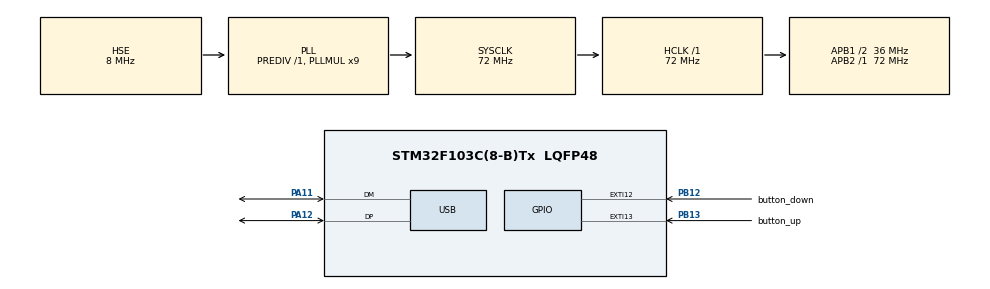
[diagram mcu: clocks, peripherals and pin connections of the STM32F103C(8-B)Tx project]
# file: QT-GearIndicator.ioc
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Mcu.Family=STM32F1
Mcu.Name=STM32F103C(8-B)Tx
Mcu.Package=LQFP48
NVIC.EXTI15_10_IRQn=true\:0\:0\:false\:false\:true\:true\:true\:true
NVIC.PriorityGroup=NVIC_PRIORITYGROUP_4
NVIC.USB_LP_CAN1_RX0_IRQn=true\:0\:0\:false\:false\:true\:false\:true\:true
PA11.Mode=Device
PA11.Signal=USB_DM
PA12.Mode=Device
PA12.Signal=USB_DP
PA13.Mode=Trace_Asynchronous_SW
PA13.Signal=SYS_JTMS-SWDIO
PA14.Mode=Trace_Asynchronous_SW
PA14.Signal=SYS_JTCK-SWCLK
PB12.GPIO_Label=button_down
PB12.Signal=GPXTI12
PB13.GPIO_Label=button_up
PB13.Signal=GPXTI13
PB3.Mode=Trace_Asynchronous_SW
PB3.Signal=SYS_JTDO-TRACESWO
PD0-OSC_IN.Mode=HSE-External-Oscillator
PD0-OSC_IN.Signal=RCC_OSC_IN
PD1-OSC_OUT.Mode=HSE-External-Oscillator
PD1-OSC_OUT.Signal=RCC_OSC_OUT
ProjectManager.HeapSize=0x200
ProjectManager.StackSize=0x400
ProjectManager.TargetToolchain=STM32CubeIDE
RCC.AHBFreq_Value=72000000
RCC.APB1CLKDivider=RCC_HCLK_DIV2
RCC.APB1Freq_Value=36000000
RCC.APB1TimFreq_Value=72000000
RCC.APB2Freq_Value=72000000
RCC.APB2TimFreq_Value=72000000
RCC.HCLKFreq_Value=72000000
RCC.PLLMUL=RCC_PLL_MUL9
RCC.SYSCLKFreq_VALUE=72000000
RCC.SYSCLKSource=RCC_SYSCLKSOURCE_PLLCLK
RCC.USBFreq_Value=48000000
RCC.USBPrescaler=RCC_USBCLKSOURCE_PLL_DIV1_5
USB_DEVICE.CLASS_NAME_FS=CDC
USB_DEVICE.VirtualMode=Cdc
USB_DEVICE.VirtualModeFS=Cdc_FS
VP_USB_DEVICE_VS_USB_DEVICE_CDC_FS.Mode=CDC_FS
board=custom

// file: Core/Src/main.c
/* USER CODE BEGIN Header */
/**
  ******************************************************************************
  * @file           : main.c
  * @brief          : Main program body
  ******************************************************************************
  * @attention
  *
  * Copyright (c) 2025 STMicroelectronics.
  * All rights reserved.
  *
  * This software is licensed under terms that can be found in the LICENSE file
  * in the root directory of this software component.
  * If no LICENSE file comes with this software, it is provided AS-IS.
  *
  ******************************************************************************
  */
/* USER CODE END Header */
#include "main.h"
#include "usb_device.h"

/* USER CODE BEGIN Includes */
#include "usbd_cdc_if.h"
/* USER CODE END Includes */

void SystemClock_Config(void);
static void MX_GPIO_Init(void);

/* USER CODE BEGIN 0 */
char *gear[] = {"R\n", "N\n", "1\n", "2\n", "3\n", "4\n", "5\n"};
uint8_t gearFlag = 0;
uint8_t gearSelected = 1;
uint32_t now;
uint32_t previous = 0;
void HAL_GPIO_EXTI_Callback(uint16_t GPIO_Pin)
{
	now = HAL_GetTick();
  if(GPIO_Pin == button_down_Pin && (now - previous) > 50) {
	  if (gearSelected > 0)
		  gearSelected--;
	  previous = now;
	  gearFlag = 1;
  }
  else if (GPIO_Pin == button_up_Pin && (now - previous) > 50) {
	  if (gearSelected < 6)
		  gearSelected++;
	  previous = now;
	  gearFlag = 1;
  }
}
/* USER CODE END 0 */

int main(void)
{

  /* MCU Configuration--------------------------------------------------------*/

  /* Reset of all peripherals, Initializes the Flash interface and the Systick. */
  HAL_Init();

  /* Configure the system clock */
  SystemClock_Config();

  /* Initialize all configured peripherals */
  MX_GPIO_Init();
  MX_USB_DEVICE_Init();
  /* USER CODE BEGIN 2 */
  char *data;
  /* USER CODE END 2 */

  /* Infinite loop */
  while (1)
  {

    /* USER CODE BEGIN 3 */

	 if (gearFlag == 1) {
		 gearFlag = 0;
		 data = gear[gearSelected];
		 CDC_Transmit_FS((uint8_t*)data, strlen(data));

	 }
  }
  /* USER CODE END 3 */
}

void SystemClock_Config(void)
{
  RCC_OscInitTypeDef RCC_OscInitStruct = {0};
  RCC_ClkInitTypeDef RCC_ClkInitStruct = {0};
  RCC_PeriphCLKInitTypeDef PeriphClkInit = {0};

  /** Initializes the RCC Oscillators according to the specified parameters
  * in the RCC_OscInitTypeDef structure.
  */
  RCC_OscInitStruct.OscillatorType = RCC_OSCILLATORTYPE_HSE;
  RCC_OscInitStruct.HSEState = RCC_HSE_ON;
  RCC_OscInitStruct.HSEPredivValue = RCC_HSE_PREDIV_DIV1;
  RCC_OscInitStruct.HSIState = RCC_HSI_ON;
  RCC_OscInitStruct.PLL.PLLState = RCC_PLL_ON;
  RCC_OscInitStruct.PLL.PLLSource = RCC_PLLSOURCE_HSE;
  RCC_OscInitStruct.PLL.PLLMUL = RCC_PLL_MUL9;
  if (HAL_RCC_OscConfig(&RCC_OscInitStruct) != HAL_OK)
  {
    Error_Handler();
  }

  /** Initializes the CPU, AHB and APB buses clocks
  */
  RCC_ClkInitStruct.ClockType = RCC_CLOCKTYPE_HCLK|RCC_CLOCKTYPE_SYSCLK
                              |RCC_CLOCKTYPE_PCLK1|RCC_CLOCKTYPE_PCLK2;
  RCC_ClkInitStruct.SYSCLKSource = RCC_SYSCLKSOURCE_PLLCLK;
  RCC_ClkInitStruct.AHBCLKDivider = RCC_SYSCLK_DIV1;
  RCC_ClkInitStruct.APB1CLKDivider = RCC_HCLK_DIV2;
  RCC_ClkInitStruct.APB2CLKDivider = RCC_HCLK_DIV1;

  if (HAL_RCC_ClockConfig(&RCC_ClkInitStruct, FLASH_LATENCY_2) != HAL_OK)
  {
    Error_Handler();
  }
  PeriphClkInit.PeriphClockSelection = RCC_PERIPHCLK_USB;
  PeriphClkInit.UsbClockSelection = RCC_USBCLKSOURCE_PLL_DIV1_5;
  if (HAL_RCCEx_PeriphCLKConfig(&PeriphClkInit) != HAL_OK)
  {
    Error_Handler();
  }
}

static void MX_GPIO_Init(void)
{
  GPIO_InitTypeDef GPIO_InitStruct = {0};

  /* GPIO Ports Clock Enable */
  __HAL_RCC_GPIOD_CLK_ENABLE();
  __HAL_RCC_GPIOB_CLK_ENABLE();
  __HAL_RCC_GPIOA_CLK_ENABLE();

  /*Configure GPIO pins : button_down_Pin button_up_Pin */
  GPIO_InitStruct.Pin = button_down_Pin|button_up_Pin;
  GPIO_InitStruct.Mode = GPIO_MODE_IT_RISING;
  GPIO_InitStruct.Pull = GPIO_NOPULL;
  HAL_GPIO_Init(GPIOB, &GPIO_InitStruct);

  /* EXTI interrupt init*/
  HAL_NVIC_SetPriority(EXTI15_10_IRQn, 0, 0);
  HAL_NVIC_EnableIRQ(EXTI15_10_IRQn);

}

void Error_Handler(void)
{
  __disable_irq();
  while (1)
  {
  }
}
